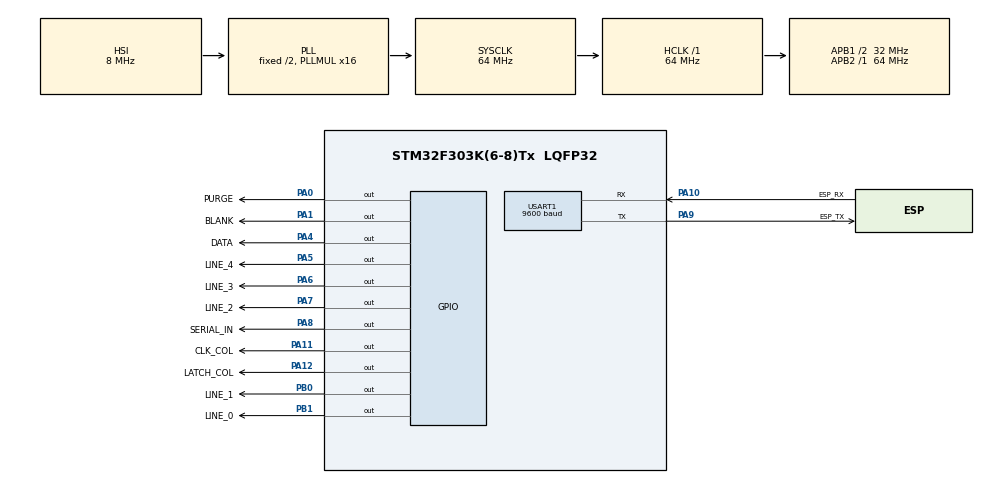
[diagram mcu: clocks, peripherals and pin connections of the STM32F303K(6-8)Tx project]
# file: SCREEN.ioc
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Mcu.Family=STM32F3
Mcu.Name=STM32F303K(6-8)Tx
Mcu.Package=LQFP32
NVIC.PriorityGroup=NVIC_PRIORITYGROUP_4
NVIC.TIM2_IRQn=true\:0\:0\:false\:false\:true\:true
PA0.GPIO_Label=PURGE
PA0.GPIO_Speed=GPIO_SPEED_FREQ_HIGH
PA0.Signal=GPIO_Output
PA1.GPIO_Label=BLANK
PA1.GPIO_Speed=GPIO_SPEED_FREQ_HIGH
PA1.Signal=GPIO_Output
PA10.GPIO_Label=ESP_RX
PA10.Mode=Asynchronous
PA10.Signal=USART1_RX
PA11.GPIO_Label=CLK_COL
PA11.GPIO_Speed=GPIO_SPEED_FREQ_HIGH
PA11.Signal=GPIO_Output
PA12.GPIO_Label=LATCH_COL
PA12.GPIO_Speed=GPIO_SPEED_FREQ_HIGH
PA12.Signal=GPIO_Output
PA13.Mode=Serial_Wire
PA13.Signal=SYS_JTMS-SWDIO
PA14.Mode=Serial_Wire
PA14.Signal=SYS_JTCK-SWCLK
PA4.GPIO_Label=DATA
PA4.GPIO_Speed=GPIO_SPEED_FREQ_HIGH
PA4.Signal=GPIO_Output
PA5.GPIO_Label=LINE_4
PA5.GPIO_Speed=GPIO_SPEED_FREQ_HIGH
PA5.Signal=GPIO_Output
PA6.GPIO_Label=LINE_3
PA6.GPIO_Speed=GPIO_SPEED_FREQ_HIGH
PA6.Signal=GPIO_Output
PA7.GPIO_Label=LINE_2
PA7.GPIO_Speed=GPIO_SPEED_FREQ_HIGH
PA7.Signal=GPIO_Output
PA8.GPIO_Label=SERIAL_IN
PA8.GPIO_Speed=GPIO_SPEED_FREQ_HIGH
PA8.Signal=GPIO_Output
PA9.GPIO_Label=ESP_TX
PA9.Mode=Asynchronous
PA9.Signal=USART1_TX
PB0.GPIO_Label=LINE_1
PB0.GPIO_Speed=GPIO_SPEED_FREQ_HIGH
PB0.Signal=GPIO_Output
PB1.GPIO_Label=LINE_0
PB1.GPIO_Speed=GPIO_SPEED_FREQ_HIGH
PB1.Signal=GPIO_Output
ProjectManager.HeapSize=0x200
ProjectManager.StackSize=0x400
ProjectManager.TargetToolchain=Makefile
RCC.AHBFreq_Value=64000000
RCC.APB1CLKDivider=RCC_HCLK_DIV2
RCC.APB1Freq_Value=32000000
RCC.APB1TimFreq_Value=64000000
RCC.APB2Freq_Value=64000000
RCC.APB2TimFreq_Value=64000000
RCC.CortexFreq_Value=64000000
RCC.HCLKFreq_Value=64000000
RCC.HSE_VALUE=8000000
RCC.HSI_VALUE=8000000
RCC.PLLMUL=RCC_PLL_MUL16
RCC.SYSCLKFreq_VALUE=64000000
RCC.SYSCLKSourceVirtual=RCC_SYSCLKSOURCE_PLLCLK
TIM2.Period=57143
TIM2.Prescaler=0
USART1.BaudRate=9600
USART1.VirtualMode-Asynchronous=VM_ASYNC
USART1.WordLength=WORDLENGTH_8B
VP_TIM2_VS_ClockSourceINT.Mode=Internal
board=SCREEN

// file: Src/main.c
/**
  ******************************************************************************
  * @file           : main.c
  * @brief          : Main program body
  ******************************************************************************
  ** This notice applies to any and all portions of this file
  * that are not between comment pairs USER CODE BEGIN and
  * USER CODE END. Other portions of this file, whether
  * inserted by the user or by software development tools
  * are owned by their respective copyright owners.
  *
  * COPYRIGHT(c) 2018 STMicroelectronics
  *
  * Redistribution and use in source and binary forms, with or without modification,
  * are permitted provided that the following conditions are met:
  *   1. Redistributions of source code must retain the above copyright notice,
  *      this list of conditions and the following disclaimer.
  *   2. Redistributions in binary form must reproduce the above copyright notice,
  *      this list of conditions and the following disclaimer in the documentation
  *      and/or other materials provided with the distribution.
  *   3. Neither the name of STMicroelectronics nor the names of its contributors
  *      may be used to endorse or promote products derived from this software
  *      without specific prior written permission.
  *
  * THIS SOFTWARE IS PROVIDED BY THE COPYRIGHT HOLDERS AND CONTRIBUTORS "AS IS"
  * AND ANY EXPRESS OR IMPLIED WARRANTIES, INCLUDING, BUT NOT LIMITED TO, THE
  * IMPLIED WARRANTIES OF MERCHANTABILITY AND FITNESS FOR A PARTICULAR PURPOSE ARE
  * DISCLAIMED. IN NO EVENT SHALL THE COPYRIGHT HOLDER OR CONTRIBUTORS BE LIABLE
  * FOR ANY DIRECT, INDIRECT, INCIDENTAL, SPECIAL, EXEMPLARY, OR CONSEQUENTIAL
  * DAMAGES (INCLUDING, BUT NOT LIMITED TO, PROCUREMENT OF SUBSTITUTE GOODS OR
  * SERVICES; LOSS OF USE, DATA, OR PROFITS; OR BUSINESS INTERRUPTION) HOWEVER
  * CAUSED AND ON ANY THEORY OF LIABILITY, WHETHER IN CONTRACT, STRICT LIABILITY,
  * OR TORT (INCLUDING NEGLIGENCE OR OTHERWISE) ARISING IN ANY WAY OUT OF THE USE
  * OF THIS SOFTWARE, EVEN IF ADVISED OF THE POSSIBILITY OF SUCH DAMAGE.
  *
  ******************************************************************************
  */
#include "main.h"
#include "stm32f3xx_hal.h"

/* USER CODE BEGIN Includes */
#include "display.h"
/* USER CODE END Includes */

TIM_HandleTypeDef htim2;

UART_HandleTypeDef huart1;
DMA_HandleTypeDef hdma_usart1_rx;

/* USER CODE BEGIN PV */
/* Private variables ---------------------------------------------------------*/

/* USER CODE END PV */

void SystemClock_Config(void);
static void MX_GPIO_Init(void);
static void MX_DMA_Init(void);
static void MX_USART1_UART_Init(void);
static void MX_TIM2_Init(void);

/* USER CODE BEGIN PFP */
/* Private function prototypes -----------------------------------------------*/

/* USER CODE END PFP */

/* USER CODE BEGIN 0 */
volatile int refresh = 0;
/*
 * Variable indiquant s'il faut rafraîchir l'écran ou non. Elle est
 * mise à jour dans le traitant d'interruption du timer.
 */

volatile static int index[3] = {0, 0, 0};
/*
 * Indices respectifs des trois chiffres indiquant le score (du poids
 * fort au poids faible). Ils sont mis à jour de manière asynchrone
 * lorsqu'un score est reçu sur la liaison UART.
 */

static unsigned char buffer;
/*
 * Buffer de réception UART.
 */
static unsigned char checksum;

typedef enum FSM_STATE_E{
  HEADER_1, HEADER_2, RECEIVING_1, RECEIVING_2
}FSM_STATE;
FSM_STATE current_state = HEADER_1;
volatile static uint16_t score = 0;

/* USER CODE END 0 */

int main(void)
{

  /* MCU Configuration----------------------------------------------------------*/

  /* Reset of all peripherals, Initializes the Flash interface and the Systick. */
  HAL_Init();

  /* Configure the system clock */
  SystemClock_Config();

  /* Initialize all configured peripherals */
  MX_GPIO_Init();
  MX_DMA_Init();
  MX_USART1_UART_Init();
  MX_TIM2_Init();
  /* USER CODE BEGIN 2 */
  //Démarre la réception UART
  HAL_UART_Receive_DMA(&huart1, &buffer, 1);

  //Lancement du timer de rafraîchissement
  HAL_TIM_Base_Start_IT(&htim2);
  /* USER CODE END 2 */

  /* Infinite loop */
  /* USER CODE BEGIN WHILE */
  while (1)
  {
    //Affichage
    wait_refresh();

    int frame;
    for(frame = 0; frame < BRIGHTNESS_LEVELS; frame++){
      display_char(index[0], frame, 0);
      display_char(index[1], frame, ROWS_PER_FRAME+1);
      display_char(index[2], frame, 2*ROWS_PER_FRAME+1);
    }

  /* USER CODE END WHILE */

  }

}

void SystemClock_Config(void)
{

  RCC_OscInitTypeDef RCC_OscInitStruct;
  RCC_ClkInitTypeDef RCC_ClkInitStruct;
  RCC_PeriphCLKInitTypeDef PeriphClkInit;

    /**Initializes the CPU, AHB and APB busses clocks
    */
  RCC_OscInitStruct.OscillatorType = RCC_OSCILLATORTYPE_HSI;
  RCC_OscInitStruct.HSIState = RCC_HSI_ON;
  RCC_OscInitStruct.HSICalibrationValue = 16;
  RCC_OscInitStruct.PLL.PLLState = RCC_PLL_ON;
  RCC_OscInitStruct.PLL.PLLSource = RCC_PLLSOURCE_HSI;
  RCC_OscInitStruct.PLL.PLLMUL = RCC_PLL_MUL16;
  if (HAL_RCC_OscConfig(&RCC_OscInitStruct) != HAL_OK)
  {
    _Error_Handler(__FILE__, __LINE__);
  }

    /**Initializes the CPU, AHB and APB busses clocks
    */
  RCC_ClkInitStruct.ClockType = RCC_CLOCKTYPE_HCLK|RCC_CLOCKTYPE_SYSCLK
                              |RCC_CLOCKTYPE_PCLK1|RCC_CLOCKTYPE_PCLK2;
  RCC_ClkInitStruct.SYSCLKSource = RCC_SYSCLKSOURCE_PLLCLK;
  RCC_ClkInitStruct.AHBCLKDivider = RCC_SYSCLK_DIV1;
  RCC_ClkInitStruct.APB1CLKDivider = RCC_HCLK_DIV2;
  RCC_ClkInitStruct.APB2CLKDivider = RCC_HCLK_DIV1;

  if (HAL_RCC_ClockConfig(&RCC_ClkInitStruct, FLASH_LATENCY_2) != HAL_OK)
  {
    _Error_Handler(__FILE__, __LINE__);
  }

  PeriphClkInit.PeriphClockSelection = RCC_PERIPHCLK_USART1;
  PeriphClkInit.Usart1ClockSelection = RCC_USART1CLKSOURCE_PCLK1;
  if (HAL_RCCEx_PeriphCLKConfig(&PeriphClkInit) != HAL_OK)
  {
    _Error_Handler(__FILE__, __LINE__);
  }

    /**Configure the Systick interrupt time
    */
  HAL_SYSTICK_Config(HAL_RCC_GetHCLKFreq()/1000);

    /**Configure the Systick
    */
  HAL_SYSTICK_CLKSourceConfig(SYSTICK_CLKSOURCE_HCLK);

  /* SysTick_IRQn interrupt configuration */
  HAL_NVIC_SetPriority(SysTick_IRQn, 0, 0);
}

/* TIM2 init function */
static void MX_TIM2_Init(void)
{

  TIM_ClockConfigTypeDef sClockSourceConfig;
  TIM_MasterConfigTypeDef sMasterConfig;

  htim2.Instance = TIM2;
  htim2.Init.Prescaler = 0;
  htim2.Init.CounterMode = TIM_COUNTERMODE_UP;
  htim2.Init.Period = 57143;
  htim2.Init.ClockDivision = TIM_CLOCKDIVISION_DIV1;
  htim2.Init.AutoReloadPreload = TIM_AUTORELOAD_PRELOAD_DISABLE;
  if (HAL_TIM_Base_Init(&htim2) != HAL_OK)
  {
    _Error_Handler(__FILE__, __LINE__);
  }

  sClockSourceConfig.ClockSource = TIM_CLOCKSOURCE_INTERNAL;
  if (HAL_TIM_ConfigClockSource(&htim2, &sClockSourceConfig) != HAL_OK)
  {
    _Error_Handler(__FILE__, __LINE__);
  }

  sMasterConfig.MasterOutputTrigger = TIM_TRGO_RESET;
  sMasterConfig.MasterSlaveMode = TIM_MASTERSLAVEMODE_DISABLE;
  if (HAL_TIMEx_MasterConfigSynchronization(&htim2, &sMasterConfig) != HAL_OK)
  {
    _Error_Handler(__FILE__, __LINE__);
  }

}

/* USART1 init function */
static void MX_USART1_UART_Init(void)
{

  huart1.Instance = USART1;
  huart1.Init.BaudRate = 9600;
  huart1.Init.WordLength = UART_WORDLENGTH_8B;
  huart1.Init.StopBits = UART_STOPBITS_1;
  huart1.Init.Parity = UART_PARITY_NONE;
  huart1.Init.Mode = UART_MODE_TX_RX;
  huart1.Init.HwFlowCtl = UART_HWCONTROL_NONE;
  huart1.Init.OverSampling = UART_OVERSAMPLING_16;
  huart1.Init.OneBitSampling = UART_ONE_BIT_SAMPLE_DISABLE;
  huart1.AdvancedInit.AdvFeatureInit = UART_ADVFEATURE_NO_INIT;
  if (HAL_UART_Init(&huart1) != HAL_OK)
  {
    _Error_Handler(__FILE__, __LINE__);
  }

}

static void MX_DMA_Init(void)
{
  /* DMA controller clock enable */
  __HAL_RCC_DMA1_CLK_ENABLE();

  /* DMA interrupt init */
  /* DMA1_Channel5_IRQn interrupt configuration */
  HAL_NVIC_SetPriority(DMA1_Channel5_IRQn, 0, 0);
  HAL_NVIC_EnableIRQ(DMA1_Channel5_IRQn);

}

/** Configure pins as
        * Analog
        * Input
        * Output
        * EVENT_OUT
        * EXTI
*/
static void MX_GPIO_Init(void)
{

  GPIO_InitTypeDef GPIO_InitStruct;

  /* GPIO Ports Clock Enable */
  __HAL_RCC_GPIOA_CLK_ENABLE();
  __HAL_RCC_GPIOB_CLK_ENABLE();

  /*Configure GPIO pin Output Level */
  HAL_GPIO_WritePin(GPIOA, PURGE_Pin|BLANK_Pin|DATA_Pin|LINE_4_Pin
                          |LINE_3_Pin|LINE_2_Pin|SERIAL_IN_Pin|CLK_COL_Pin
                          |LATCH_COL_Pin, GPIO_PIN_RESET);

  /*Configure GPIO pin Output Level */
  HAL_GPIO_WritePin(GPIOB, LINE_1_Pin|LINE_0_Pin, GPIO_PIN_RESET);

  /*Configure GPIO pins : PURGE_Pin BLANK_Pin DATA_Pin LINE_4_Pin
                           LINE_3_Pin LINE_2_Pin SERIAL_IN_Pin CLK_COL_Pin
                           LATCH_COL_Pin */
  GPIO_InitStruct.Pin = PURGE_Pin|BLANK_Pin|DATA_Pin|LINE_4_Pin
                          |LINE_3_Pin|LINE_2_Pin|SERIAL_IN_Pin|CLK_COL_Pin
                          |LATCH_COL_Pin;
  GPIO_InitStruct.Mode = GPIO_MODE_OUTPUT_PP;
  GPIO_InitStruct.Pull = GPIO_NOPULL;
  GPIO_InitStruct.Speed = GPIO_SPEED_FREQ_HIGH;
  HAL_GPIO_Init(GPIOA, &GPIO_InitStruct);

  /*Configure GPIO pins : LINE_1_Pin LINE_0_Pin */
  GPIO_InitStruct.Pin = LINE_1_Pin|LINE_0_Pin;
  GPIO_InitStruct.Mode = GPIO_MODE_OUTPUT_PP;
  GPIO_InitStruct.Pull = GPIO_NOPULL;
  GPIO_InitStruct.Speed = GPIO_SPEED_FREQ_HIGH;
  HAL_GPIO_Init(GPIOB, &GPIO_InitStruct);

}

/* USER CODE BEGIN 4 */
//Traitant d'interrupton du timer.
void HAL_TIM_PeriodElapsedCallback (TIM_HandleTypeDef * htim){
  if(htim == &htim2){
    refresh = 1;
    /*
     * On indique simplement au programme principal qu'il faut
     * rafraîchir l'écran.
     */
  }
}

//Traitant d'interruption UART
void HAL_UART_RxCpltCallback(UART_HandleTypeDef *huart){
  if(huart == &huart1){
    switch(current_state){
    case HEADER_1:
      if(buffer == 0xFF)
	current_state = HEADER_2;
      break;
    case HEADER_2:
      if(buffer == 0x00)
	current_state = RECEIVING_1;
      else
	current_state = HEADER_1;
      break;
    case RECEIVING_1:
      score = buffer << 8;
      break;
    case RECEIVING_2:
      score |= buffer;
      checksum = ~((score >> 8) + (score & 0xFF)) & 0xFF;
      HAL_UART_Transmit_IT(&huart1, &checksum, 1);
      index[2] = score % 10;
      score /= 10;
      index[1] = score % 10;
      score /= 10;
      index[0] = score % 10;
      break;
    default:
      break;
    }
  }
}
/* USER CODE END 4 */

void _Error_Handler(char *file, int line)
{
  while(1)
  {
  }
}

/************************ (C) COPYRIGHT STMicroelectronics *****END OF FILE****/
